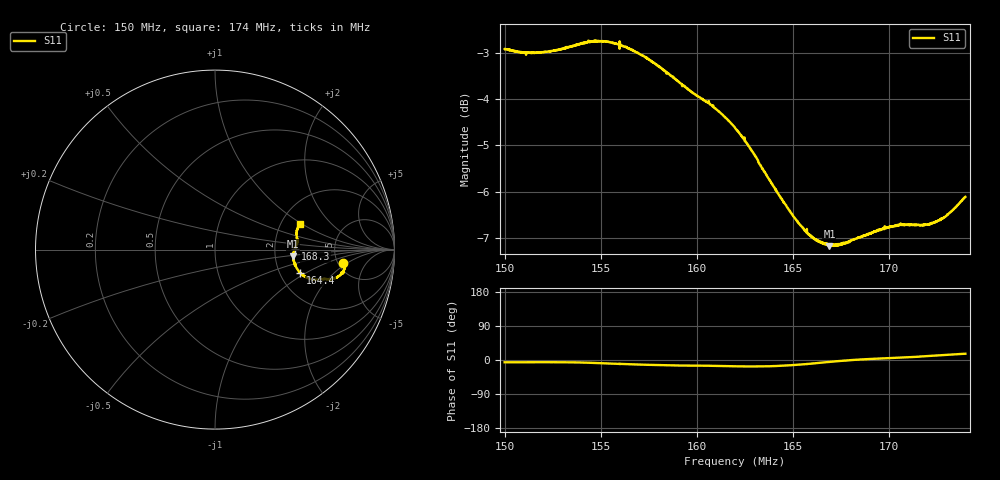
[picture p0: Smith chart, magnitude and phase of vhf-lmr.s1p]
! Calibrated averaged scanner-service zoom
# Hz S RI R 50
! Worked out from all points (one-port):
!   2001 points, 150 MHz to 174 MHz, reference 50 ohm
!   lowest |S11| = -7.2 dB at 166.9 MHz (marker M1), VSWR 2.56, Z = 126 - j11.8 ohm
!   |S11| at or under -10 dB: nowhere
!   S11 on the Smith chart (normalised r, x): 150 MHz: 5.47, -1.67; 164.4 MHz: 2.59, -0.90; 168.3 MHz: 2.61, +0.03; 174 MHz: 2.55, +0.95
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1.5e8  0.7104 -0.0749
1.51224e8  0.7046 -0.0726
1.52208e8  0.7056 -0.0717
1.53e8  0.7104 -0.0746
1.53732e8  0.7182 -0.0794
1.54464e8  0.7207 -0.0935
1.55244e8  0.7194 -0.1121
1.56e8  0.7161 -0.129
1.56684e8  0.6973 -0.1412
1.57632e8  0.6759 -0.1561
1.58436e8  0.6516 -0.1638
1.59e8  0.6392 -0.1657
1.6074e8  0.5999 -0.1638
1.62e8  0.5628 -0.1673
1.62636e8  0.5394 -0.165
1.6326e8  0.5138 -0.1576
1.64364e8  0.4761 -0.1313
1.65e8  0.4597 -0.1104
1.66008e8  0.4414 -0.0731
1.6692e8  0.4359 -0.0379
1.68e8  0.443 -0.00517
1.683e8  0.4457 0.00451
1.69824e8  0.4568 0.036
1.71e8  0.4576 0.057
1.7148e8  0.4563 0.0669
1.72584e8  0.4557 0.0996
1.73208e8  0.4608 0.1191
1.74e8  0.4744 0.1402
